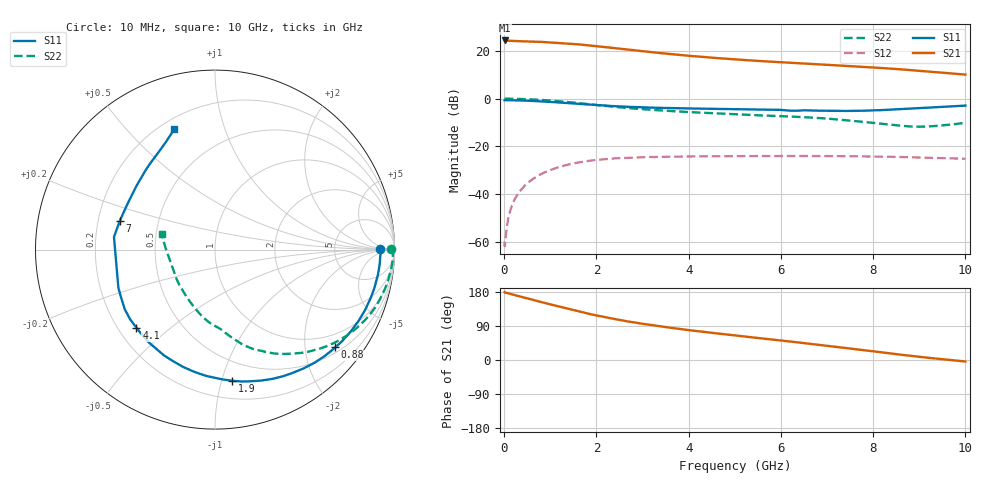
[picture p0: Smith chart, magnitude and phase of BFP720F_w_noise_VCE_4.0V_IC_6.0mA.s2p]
! Infineon Technologies  Discrete & RF Semiconductors
! BFP720F
! VCE =  4.0 V,  IC =  6.0 mA
! Common Emitter S-Parameters:  Jan 2016
# GHz  S  MA  R  50
!  f  S11  S21  S12  S22
! GHz  MAG  ANG  MAG  ANG  MAG  ANG  MAG  ANG
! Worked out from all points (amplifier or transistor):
!   233 points, 10 MHz to 10 GHz, reference 50 ohm
!   highest |S21| = 24.4 dB at 10 MHz (marker M1)
!   |S21| within 3 dB of that: start of sweep to 2.282 GHz
!   unconditionally stable (mu >= 1): start of sweep to 14.24 MHz; 7.437 GHz to end of sweep
!   at 200 MHz: K = 0.12, MSG = 33.8 dB, |S12| = -43.5 dB
!   at 1.74 GHz: K = 0.24, MSG = 24.5 dB, |S12| = -26.4 dB
!   at 10 GHz: K = 1.29, MAG = 14.4 dB, |S12| = -25.3 dB
!   lowest NFmin = 0.45 dB at 450 MHz
!   S11 on the Smith chart (normalised r, x): 10 MHz: 24, +1; 880 MHz: 0.63, -2.69; 1.9 GHz: 0.34, -1.08; 4.1 GHz: 0.27, -0.39; 7 GHz: 0.29, +0.14; 10 GHz: 0.25, +0.69
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0.01  0.9193 0.2  16.54 178.9  0.001 -8.7  0.9825 0.3
0.02  0.9247 -0.7  16.25 177.2  0.0009 59.0  0.9938 -1.2
0.05  0.921 -2.2  16.37 177.4  0.0017 75.5  0.9917 -1.4
0.105  0.9216 -4.6  16.3 175.6  0.0036 78.8  0.9919 -2.9
0.24  0.9161 -10.6  16.11 170.9  0.0081 79.9  0.9869 -6.8
0.6  0.8928 -26.6  15.63 159.5  0.0198 72.2  0.9586 -17.1
0.88  0.8635 -39.1  15.29 150.5  0.0283 65.1  0.9254 -24.8
1.28  0.8157 -56.5  14.41 138.2  0.0387 54.9  0.8615 -35.4
1.68  0.7634 -73.8  13.5 126.3  0.0468 45.4  0.7883 -45.2
1.9  0.7371 -82.4  12.84 120.3  0.0502 40.7  0.7492 -50.2
2.2  0.7084 -93.0  11.96 112.7  0.0538 34.8  0.6995 -56.2
2.6  0.6773 -105.3  10.83 103.5  0.0569 28.0  0.6426 -63.0
3  0.6549 -115.6  9.827 95.5  0.0589 22.9  0.5983 -68.5
3.4  0.6372 -123.7  8.966 88.5  0.0599 18.5  0.5632 -72.4
4.1  0.6175 -135.1  7.75 77.5  0.0611 12.3  0.515 -77.5
5.1  0.5993 -147.7  6.535 63.6  0.0619 5.7  0.4642 -83.3
6  0.579 -158.4  5.773 51.5  0.0623 0.9  0.4285 -89.4
6.8  0.5573 167.1  5.229 40.3  0.0622 -3.2  0.3905 -98.1
7  0.554 163.2  5.107 37.4  0.0621 -4.2  0.3801 -100.7
8.4  0.5865 131.4  4.234 16.9  0.06 -10.7  0.281 -134.5
9  0.6296 119.6  3.814 8.2  0.0577 -12.7  0.2564 -161.8
10  0.7113 108.5  3.182 -4.0  0.0546 -14.0  0.3099 164.0
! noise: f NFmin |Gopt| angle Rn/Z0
0.45  0.45  0.44  3  0.16
0.9  0.47  0.42  10  0.17
1.8  0.52  0.38  19  0.16
2.4  0.56  0.37  28  0.14
5.5  0.74  0.34  62  0.09
10  0.97  0.25  -105  0.15
